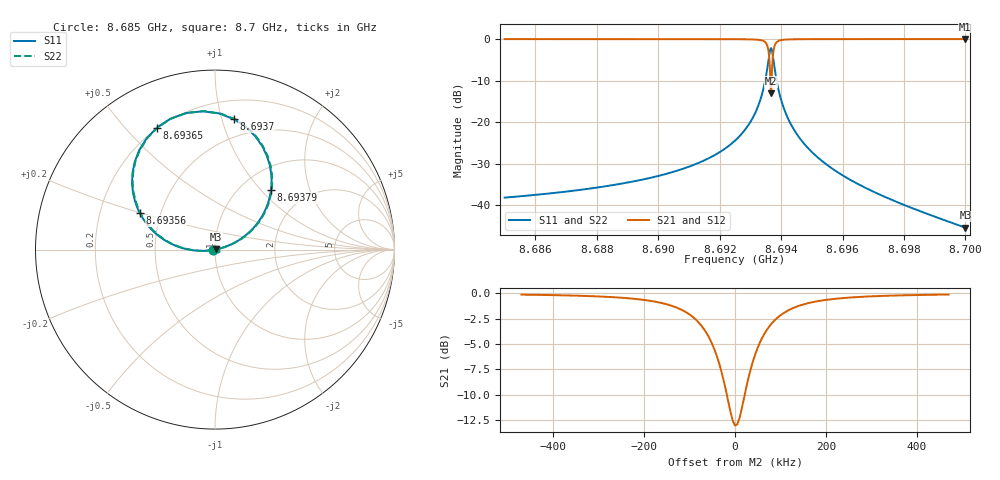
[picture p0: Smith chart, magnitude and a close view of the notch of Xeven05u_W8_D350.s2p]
! Sonnet Data File
! From: emgraph Version : 16.52
! From Project: Qubit_Xmon2_brg_para
! Data is De-embedded
! Data File Written: 11/12/2017 17:09:26
!< HDATE 11/12/2017 00:17:19
!< MDATE 11/12/2017 00:17:19
!< PARAMS
!< Lj = 11.0
!< Gap = 6.0
!< Pwid = 2000.0
!< Airgap = 6.0
!< Width = 10.0
!< Bwid = 8.0
!< Dis1 = 350.0
!< Dis2 = 356.0
!< END PARAMS
# GHZ S MA R 51.80000
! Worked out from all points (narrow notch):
!   3001 points, 8.685 GHz to 8.7 GHz, reference 51.8 ohm
!   highest |S21| = 0.00 dB at 8.69998 GHz (marker M1); lowest = -13.0 dB at 8.69367 GHz (marker M2)
!   notch at M2: 13.0 dB deep, 78.5 kHz wide at half that depth
!   lowest |S11| = -45.5 dB at 8.7 GHz (marker M3), VSWR 1.01, Z = 52.3 + j0.118 ohm
!   |S11| at or under -10 dB: start of sweep to 8.693483 GHz; 8.693855 GHz to end of sweep
!   |S22| runs from -45.5 to -2.2 dB; largest |S21 - S12| = 0
!   S11 on the Smith chart (normalised r, x): 8.685 GHz: 0.98, -0.00; 8.69356 GHz: 0.38, +0.20; 8.69365 GHz: 0.20, +0.61; 8.6937 GHz: 0.34, +1.09; 8.69379 GHz: 1.36, +1.14; 8.7 GHz: 1.01, +0.00
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8.685  0.01228 -170.3  0.9999 -80.2  0.9999 -80.2  0.01228 -170.1
!< P1 F=8.685 Eeff=(6.4468387 -2.9786e-5) Z0=(51.799366 1.19075e-4) R=0.0 C=0.0
!< P2 F=8.685 Eeff=(6.4468387 -2.9786e-5) Z0=(51.799366 1.19075e-4) R=0.0 C=0.0
8.6875  0.01529 -170.5  0.9998 -80.3  0.9998 -80.3  0.01529 -170.4
8.69  0.0224 -170.9  0.9997 -80.8  0.9997 -80.8  0.0224 -171.1
8.691485  0.0343 -171.7  0.9992 -81.5  0.9992 -81.5  0.0343 -172.0
8.6925  0.0597 -173.6  0.9974 -82.9  0.9974 -82.9  0.0597 -174.0
8.69319  0.1366 -179.2  0.9856 -87.4  0.9856 -87.4  0.1366 -179.7
8.693445  0.2713 170.5  0.9411 -95.2  0.9411 -95.2  0.2713 170.0
8.69356  0.4665 154.0  0.8124 -106.9  0.8124 -106.9  0.4665 153.5
8.693605  0.6079 139.5  0.6492 -115.4  0.6492 -115.4  0.6079 139.0
8.69365  0.753 115.4  0.3319 -114.6  0.3319 -114.6  0.7529 114.9
8.69367  0.7777 101.9  0.2231 -83.7  0.2231 -83.7  0.7776 101.4
8.6937  0.7354 81.9  0.386 -41.5  0.386 -41.5  0.7353 81.3
8.693745  0.5805 59.2  0.6843 -45.3  0.6843 -45.3  0.5805 58.6
8.693785  0.4561 46.8  0.8191 -52.8  0.8191 -52.8  0.4561 46.3
8.693845  0.3317 36.2  0.9085 -60.3  0.9085 -60.3  0.3317 35.6
8.69392  0.242 29.0  0.9522 -65.6  0.9522 -65.6  0.2419 28.5
8.6942  0.1158 19.5  0.9891 -72.9  0.9891 -72.9  0.1158 18.9
8.695  0.04361 14.2  0.9984 -77.0  0.9984 -77.0  0.04361 13.5
8.69602  0.02259 12.8  0.9995 -78.2  0.9995 -78.2  0.02259 11.8
8.6975  0.01199 12.2  0.9998 -78.9  0.9998 -78.9  0.01199 10.9
8.69998  0.005367 12.2  1 -79.3  1 -79.3  0.005367 10.0
8.7  0.005335 12.2  1 -79.3  1 -79.3  0.005334 10.0
